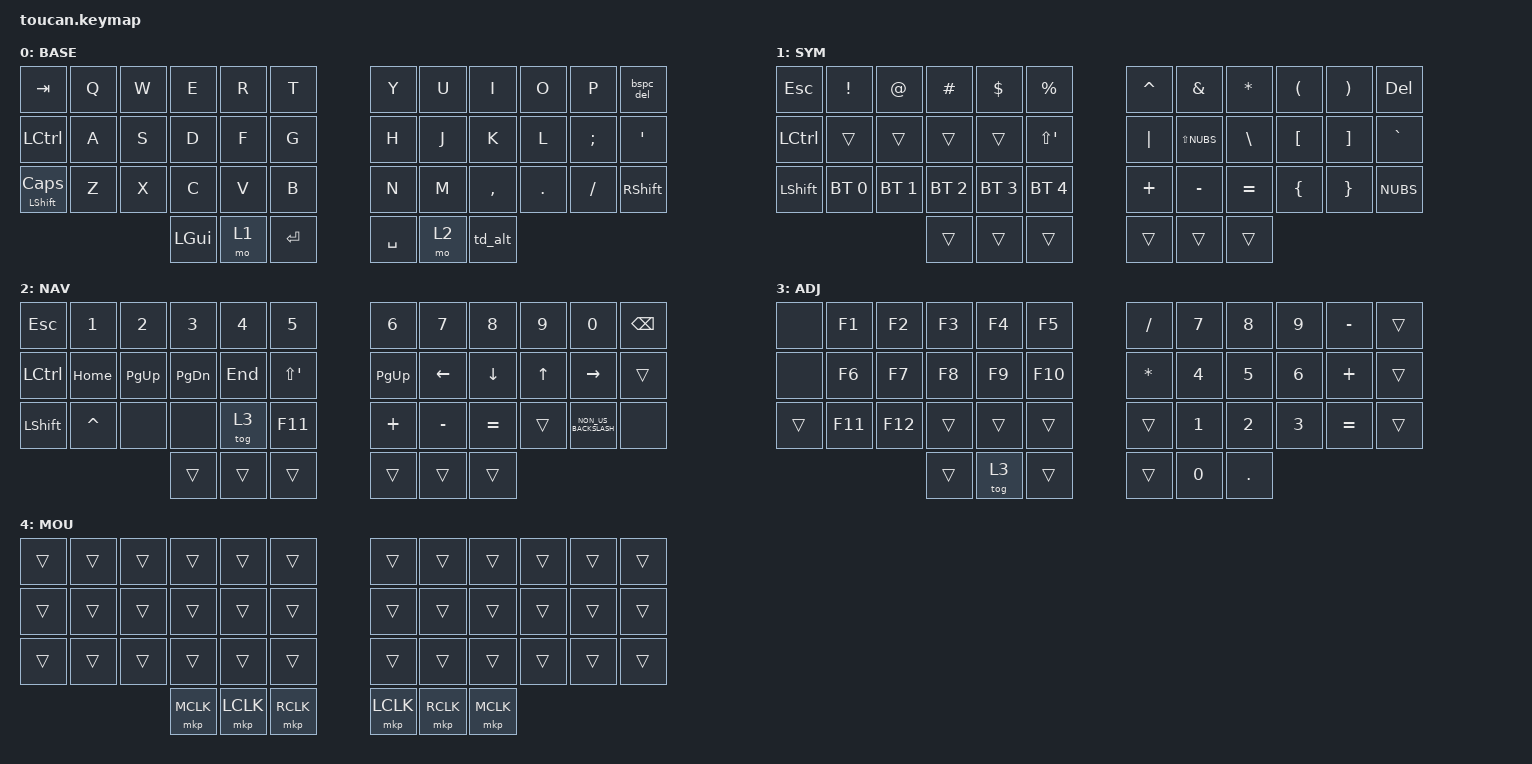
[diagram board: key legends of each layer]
#include <behaviors.dtsi>
#include <dt-bindings/zmk/keys.h>
#include <dt-bindings/zmk/bt.h>
#include <dt-bindings/zmk/outputs.h>
#include <dt-bindings/zmk/pointing.h>

#define BASE 0
#define SYM  1
#define NAV  2
#define ADJ  3
#define MOU  4

/ {
//    conditional_layers {
//        compatible = "zmk,conditional-layers";
//        tri_layer {
//            if-layers = <1 2>;
//            then-layer = <3>;
//        };
//    };

    behaviors {
        bspc_del: backspace_delete {
            compatible = "zmk,behavior-mod-morph";
            #binding-cells = <0>;
            bindings = <&kp BACKSPACE>, <&kp DEL>;

            mods = <(MOD_LSFT|MOD_RSFT)>;
            label = "backspace_delete";
        };

        td_alt: tap_dance_alt {
            compatible = "zmk,behavior-tap-dance";
            #binding-cells = <0>;
            tapping-term-ms = <200>;
            bindings = <&kp LALT>, <&kp LC(LALT)>;
        };
    };

    combos {
        compatible = "zmk,combos";

        lshift_combo {
            bindings = <&kp LEFT_SHIFT>;
            key-positions = <14 15>;
        };

        rshift_combo {
            bindings = <&kp RIGHT_SHIFT>;
            key-positions = <21 20>;
        };

        Enter_combo {
            bindings = <&kp ENTER>;
            key-positions = <22 21 20>;
        };

        backspace_combo {
            timeout-ms = <5>;
            bindings = <&bspc_del>;
            key-positions = <9 10>;
        };

        lctrl_combo {
            bindings = <&kp LCTRL>;
            key-positions = <13 14>;
        };

        rctrl_combo {
            bindings = <&kp LCTRL>;
            key-positions = <21 22>;
        };

        tab_combo {
            bindings = <&kp TAB>;
            key-positions = <2 3>;
        };

        esc_combo {
            bindings = <&kp ESC>;
            key-positions = <1 2>;
        };

        Apostrophe {
            bindings = <&kp SQT>;
            key-positions = <7 8>;
        };

        Del-combo {
            bindings = <&bspc_del>;
            key-positions = <8 9>;
        };

        Delete {
            bindings = <&kp DEL>;
            key-positions = <8 9 10>;
        };

        ctrl_win {
            bindings = <&kp LC(LGUI)>;
            key-positions = <25 26>;
        };

        left_desktop {
            bindings = <&kp LC(LG(LEFT_ARROW))>;
            key-positions = <25 26 27>;
        };

        right_desktop {
            bindings = <&kp LC(LG(RIGHT_ARROW))>;
            key-positions = <32 33 34>;
        };

        LeftDel {
            bindings = <&kp DELETE>;
            key-positions = <1 2 3>;
        };

        clearBTprofile {
            bindings = <&bt BT_CLR>;
            key-positions = <29 28 27>;
        };

        low_apostrophe_r {
            bindings = <&kp SQT>;
            key-positions = <33 32>;
        };

        ctrl_shft_l {
            bindings = <&kp LS(LCTRL)>;
            key-positions = <13 14 15>;
        };

        ctrl_shft_r {
            bindings = <&kp RS(RCTRL)>;
            key-positions = <22 21 20>;
        };

        iPad_windows {
            bindings = <&kp GLOBE(UP_ARROW)>;
            key-positions = <16 15 14>;
        };

        bootloader {
            bindings = <&bootloader>;
            key-positions = <1 2 3 4>;
        };

        backtick {
            bindings = <&kp GRAVE>;
            key-positions = <3 4>;
        };

        alt_combo {
            bindings = <&kp LALT>;
            key-positions = <4 5>;
        };

    };
    
    keymap {
        compatible = "zmk,keymap";

        base {
            display-name = "BASE";
            bindings = <
&kp TAB              &kp Q  &kp W  &kp E     &kp R  &kp T      &kp Y      &kp U  &kp I         &kp O    &kp P     &bspc_del
&kp LCTRL            &kp A  &kp S  &kp D     &kp F  &kp G      &kp H      &kp J  &kp K         &kp L    &kp SEMI  &kp SQT
&mt LEFT_SHIFT CAPS  &kp Z  &kp X  &kp C     &kp V  &kp B      &kp N      &kp M  &kp COMMA     &kp DOT  &kp FSLH  &kp RIGHT_SHIFT
                                   &kp LGUI  &mo 1  &kp RET    &kp SPACE  &mo 2  &td_alt
            >;
        };

        sym {
            display-name = "SYM";
            bindings = <
&kp ESC    &kp EXCL      &kp AT        &kp HASH      &kp DLLR      &kp PRCNT             &kp CARET  &kp AMPS      &kp ASTRK  &kp LPAR  &kp RPAR  &kp DEL
&kp LCTRL  &trans        &trans        &trans        &trans        &kp LS(APOSTROPHE)    &kp PIPE   &kp LS(NUBS)  &kp BSLH   &kp LBKT  &kp RBKT  &kp GRAVE
&kp LSHFT  &bt BT_SEL 0  &bt BT_SEL 1  &bt BT_SEL 2  &bt BT_SEL 3  &bt BT_SEL 4          &kp PLUS   &kp MINUS     &kp EQUAL  &kp LBRC  &kp RBRC  &kp NUBS
                                       &trans        &trans        &trans                &trans     &trans        &trans
            >;
        };

        nav {
            display-name = "NAV";
            bindings = <
&kp ESC    &kp N1          &kp N2    &kp N3  &kp N4   &kp N5          &kp N6       &kp N7     &kp N8     &kp N9        &kp N0                &kp BSPC
&kp LCTRL  &kp HOME   &kp PAGE_UP  &kp PAGE_DOWN   &kp END  &kp LS(APOS)    &kp PAGE_UP  &kp LEFT   &kp DOWN   &kp UP_ARROW  &kp RIGHT             &trans
&kp LSHFT  &kp CARET       &none     &none   &tog 3   &kp F11         &kp PLUS     &kp MINUS  &kp EQUAL  &trans        &kp NON_US_BACKSLASH  &none
                                     &trans  &trans   &trans          &trans       &trans     &trans
            >;
        };

        adj {
            display-name = "ADJ";
            bindings = <
&none   &kp F1   &kp F2   &kp F3  &kp F4  &kp F5     &kp FSLH   &kp N7  &kp N8      &kp N9  &kp MINUS  &trans
&none   &kp F6   &kp F7   &kp F8  &kp F9  &kp F10    &kp ASTRK  &kp N4  &kp N5      &kp N6  &kp PLUS   &trans
&trans  &kp F11  &kp F12  &trans  &trans  &trans     &trans     &kp N1  &kp N2      &kp N3  &kp EQUAL  &trans
                          &trans  &tog 3  &trans     &trans     &kp N0  &kp PERIOD
            >;
        };

        mouse {
            display-name = "MOU";
            bindings = <
                &trans &trans &trans &trans &trans &trans           &trans &trans &trans &trans &trans &trans
                &trans &trans &trans &trans &trans &trans           &trans &trans &trans &trans &trans &trans
                &trans &trans &trans &trans &trans &trans           &trans &trans &trans &trans &trans &trans
                            &mkp MCLK &mkp LCLK &mkp RCLK           &mkp LCLK &mkp RCLK &mkp MCLK
            >;
        };

        extra_2 {
                status = "reserved";
        };

        extra_3 {
                status = "reserved";
        };
    };
};
